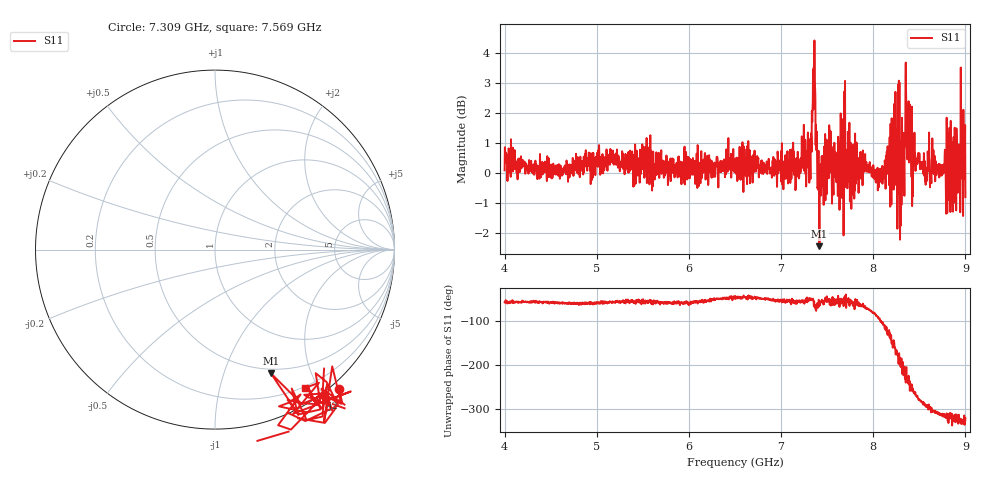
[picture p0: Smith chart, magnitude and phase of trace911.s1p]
! Created with skrf 1.8.0 (http://scikit-rf.org).
# Hz S RI R 50.0
!freq ReS11 ImS11
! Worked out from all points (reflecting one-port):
!   1601 points, 4 GHz to 9 GHz, reference 50 ohm
!   lowest |S11| = -2.4 dB at 7.416 GHz (marker M1), VSWR 7.14, Z = 22.7 - j72.5 ohm
!   phase of S11 starts at -58 deg and turns -262 deg over the sweep
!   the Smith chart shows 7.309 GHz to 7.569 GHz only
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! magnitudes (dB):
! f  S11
! 4 GHz  0.1
! 4.625 GHz  -0.1
! 5.25 GHz  0.1
! 5.875 GHz  -0.1
! 6.5 GHz  0.3
! 7.125 GHz  0.8
! 7.297 GHz  1.1
! 7.353 GHz  2.7
! 7.366 GHz  2.5
! 7.4 GHz  -0.6
! 7.416 GHz  -2.4
! 7.512 GHz  0.6
! 7.609 GHz  0.3
! 7.659 GHz  -0.8
! 7.669 GHz  0.8
! 7.75 GHz  0.2
! 8.075 GHz  0.1
! 8.262 GHz  -1.9
! 8.312 GHz  1.8
! 8.334 GHz  0.3
! 8.375 GHz  1.1
! 8.391 GHz  1.1
! 8.447 GHz  1.3
! 8.766 GHz  0.3
! 8.834 GHz  1.0
! 8.875 GHz  0.7
! 8.972 GHz  0.2
! 9 GHz  -0.8
